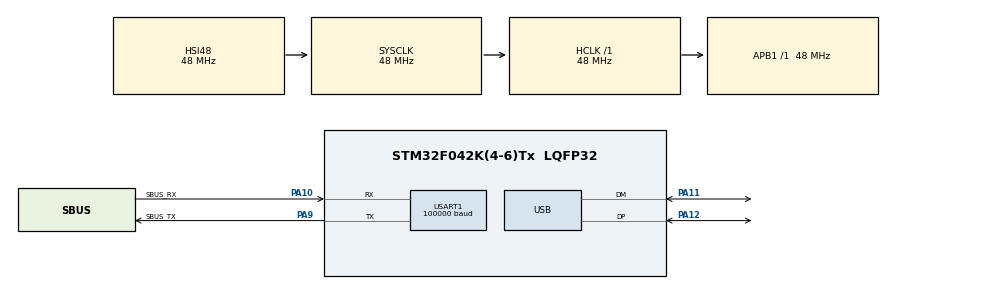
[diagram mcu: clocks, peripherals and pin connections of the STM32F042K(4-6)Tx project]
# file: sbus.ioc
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Dma.Request0=USART1_RX
Dma.USART1_RX.0.Direction=DMA_PERIPH_TO_MEMORY
Dma.USART1_RX.0.Instance=DMA1_Channel3
Dma.USART1_RX.0.MemDataAlignment=DMA_MDATAALIGN_BYTE
Dma.USART1_RX.0.MemInc=DMA_MINC_ENABLE
Dma.USART1_RX.0.Mode=DMA_CIRCULAR
Dma.USART1_RX.0.PeriphDataAlignment=DMA_PDATAALIGN_BYTE
Dma.USART1_RX.0.PeriphInc=DMA_PINC_DISABLE
Dma.USART1_RX.0.Priority=DMA_PRIORITY_MEDIUM
Mcu.Family=STM32F0
Mcu.Name=STM32F042K(4-6)Tx
Mcu.Package=LQFP32
NVIC.DMA1_Channel2_3_IRQn=true\:0\:0\:false\:false\:true\:false
NVIC.USB_IRQn=true\:0\:0\:false\:false\:true\:false
PA10.GPIO_Label=SBUS_RX
PA10.Mode=Asynchronous
PA10.Signal=USART1_RX
PA11.Mode=Device
PA11.Signal=USB_DM
PA12.Mode=Device
PA12.Signal=USB_DP
PA13.Mode=Serial_Wire
PA13.Signal=SYS_SWDIO
PA14.Mode=Serial_Wire
PA14.Signal=SYS_SWCLK
PA9.GPIO_Label=SBUS_TX
PA9.Mode=Asynchronous
PA9.Signal=USART1_TX
ProjectManager.HeapSize=0x100
ProjectManager.StackSize=0x400
ProjectManager.TargetToolchain=Makefile
RCC.AHBFreq_Value=48000000
RCC.APB1Freq_Value=48000000
RCC.APB1TimFreq_Value=48000000
RCC.HCLKFreq_Value=48000000
RCC.SYSCLKFreq_VALUE=48000000
RCC.SYSCLKSource=RCC_SYSCLKSOURCE_HSI48
USART1.BaudRate=100000
USART1.Mode=MODE_TX_RX
USART1.Parity=PARITY_EVEN
USART1.RxPinLevelInvertParam=ADVFEATURE_RXINV_ENABLE
USART1.StopBits=STOPBITS_2
USART1.TxPinLevelInvertParam=ADVFEATURE_TXINV_ENABLE
USART1.VirtualMode-Asynchronous=VM_ASYNC
USART1.WordLength=WORDLENGTH_8B
USB_DEVICE.CLASS_NAME_FS=CDC
USB_DEVICE.VirtualMode=Cdc
USB_DEVICE.VirtualModeFS=Cdc_FS
VP_USB_DEVICE_VS_USB_DEVICE_CDC_FS.Mode=CDC_FS
board=custom

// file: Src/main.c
/**
  ******************************************************************************
  * @file           : main.c
  * @brief          : Main program body
  ******************************************************************************
  * This notice applies to any and all portions of this file
  * that are not between comment pairs USER CODE BEGIN and
  * USER CODE END. Other portions of this file, whether
  * inserted by the user or by software development tools
  * are owned by their respective copyright owners.
  *
  * Copyright (c) 2018 STMicroelectronics International N.V.
  * All rights reserved.
  *
  * Redistribution and use in source and binary forms, with or without
  * modification, are permitted, provided that the following conditions are met:
  *
  * 1. Redistribution of source code must retain the above copyright notice,
  *    this list of conditions and the following disclaimer.
  * 2. Redistributions in binary form must reproduce the above copyright notice,
  *    this list of conditions and the following disclaimer in the documentation
  *    and/or other materials provided with the distribution.
  * 3. Neither the name of STMicroelectronics nor the names of other
  *    contributors to this software may be used to endorse or promote products
  *    derived from this software without specific written permission.
  * 4. This software, including modifications and/or derivative works of this
  *    software, must execute solely and exclusively on microcontroller or
  *    microprocessor devices manufactured by or for STMicroelectronics.
  * 5. Redistribution and use of this software other than as permitted under
  *    this license is void and will automatically terminate your rights under
  *    this license.
  *
  * THIS SOFTWARE IS PROVIDED BY STMICROELECTRONICS AND CONTRIBUTORS "AS IS"
  * AND ANY EXPRESS, IMPLIED OR STATUTORY WARRANTIES, INCLUDING, BUT NOT
  * LIMITED TO, THE IMPLIED WARRANTIES OF MERCHANTABILITY, FITNESS FOR A
  * PARTICULAR PURPOSE AND NON-INFRINGEMENT OF THIRD PARTY INTELLECTUAL PROPERTY
  * RIGHTS ARE DISCLAIMED TO THE FULLEST EXTENT PERMITTED BY LAW. IN NO EVENT
  * SHALL STMICROELECTRONICS OR CONTRIBUTORS BE LIABLE FOR ANY DIRECT, INDIRECT,
  * INCIDENTAL, SPECIAL, EXEMPLARY, OR CONSEQUENTIAL DAMAGES (INCLUDING, BUT NOT
  * LIMITED TO, PROCUREMENT OF SUBSTITUTE GOODS OR SERVICES; LOSS OF USE, DATA,
  * OR PROFITS; OR BUSINESS INTERRUPTION) HOWEVER CAUSED AND ON ANY THEORY OF
  * LIABILITY, WHETHER IN CONTRACT, STRICT LIABILITY, OR TORT (INCLUDING
  * NEGLIGENCE OR OTHERWISE) ARISING IN ANY WAY OUT OF THE USE OF THIS SOFTWARE,
  * EVEN IF ADVISED OF THE POSSIBILITY OF SUCH DAMAGE.
  *
  ******************************************************************************
  */
#include "main.h"
#include "stm32f0xx_hal.h"
#include "usb_device.h"

/* USER CODE BEGIN Includes */
#include "usbd_cdc_if.h"
#include "sbus.h"
/* USER CODE END Includes */

UART_HandleTypeDef huart1;
DMA_HandleTypeDef hdma_usart1_rx;

/* USER CODE BEGIN PV */
uint8_t sbusByte;
sbusHandle_t sbusHandle;
/* Private variables ---------------------------------------------------------*/
/* USER CODE END PV */

void SystemClock_Config(void);
static void MX_GPIO_Init(void);
static void MX_DMA_Init(void);
static void MX_USART1_UART_Init(void);

/* USER CODE BEGIN PFP */
/* Private function prototypes -----------------------------------------------*/
static void appSbusInit(void);
static void onSbusFrame(sbusHandle_t *handle);
/* USER CODE END PFP */

int main(void)
{

  /* MCU Configuration----------------------------------------------------------*/

  /* Reset of all peripherals, Initializes the Flash interface and the Systick. */
  HAL_Init();

  /* Configure the system clock */
  SystemClock_Config();

  /* Initialize all configured peripherals */
  MX_GPIO_Init();
  MX_DMA_Init();
  MX_USB_DEVICE_Init();
  MX_USART1_UART_Init();
  /* USER CODE BEGIN 2 */

  appSbusInit();
  /* USER CODE END 2 */

  /* Infinite loop */
  /* USER CODE BEGIN WHILE */
  while (1)
  {
    HAL_Delay(1000);
  /* USER CODE END WHILE */

  }

}

void SystemClock_Config(void)
{

  RCC_OscInitTypeDef RCC_OscInitStruct;
  RCC_ClkInitTypeDef RCC_ClkInitStruct;
  RCC_PeriphCLKInitTypeDef PeriphClkInit;

    /**Initializes the CPU, AHB and APB busses clocks
    */
  RCC_OscInitStruct.OscillatorType = RCC_OSCILLATORTYPE_HSI48;
  RCC_OscInitStruct.HSI48State = RCC_HSI48_ON;
  RCC_OscInitStruct.PLL.PLLState = RCC_PLL_NONE;
  if (HAL_RCC_OscConfig(&RCC_OscInitStruct) != HAL_OK)
  {
    _Error_Handler(__FILE__, __LINE__);
  }

    /**Initializes the CPU, AHB and APB busses clocks
    */
  RCC_ClkInitStruct.ClockType = RCC_CLOCKTYPE_HCLK|RCC_CLOCKTYPE_SYSCLK
                              |RCC_CLOCKTYPE_PCLK1;
  RCC_ClkInitStruct.SYSCLKSource = RCC_SYSCLKSOURCE_HSI48;
  RCC_ClkInitStruct.AHBCLKDivider = RCC_SYSCLK_DIV1;
  RCC_ClkInitStruct.APB1CLKDivider = RCC_HCLK_DIV1;

  if (HAL_RCC_ClockConfig(&RCC_ClkInitStruct, FLASH_LATENCY_1) != HAL_OK)
  {
    _Error_Handler(__FILE__, __LINE__);
  }

  PeriphClkInit.PeriphClockSelection = RCC_PERIPHCLK_USB|RCC_PERIPHCLK_USART1;
  PeriphClkInit.Usart1ClockSelection = RCC_USART1CLKSOURCE_PCLK1;
  PeriphClkInit.UsbClockSelection = RCC_USBCLKSOURCE_HSI48;

  if (HAL_RCCEx_PeriphCLKConfig(&PeriphClkInit) != HAL_OK)
  {
    _Error_Handler(__FILE__, __LINE__);
  }

    /**Configure the Systick interrupt time
    */
  HAL_SYSTICK_Config(HAL_RCC_GetHCLKFreq()/1000);

    /**Configure the Systick
    */
  HAL_SYSTICK_CLKSourceConfig(SYSTICK_CLKSOURCE_HCLK);

  /* SysTick_IRQn interrupt configuration */
  HAL_NVIC_SetPriority(SysTick_IRQn, 0, 0);
}

/* USART1 init function */
static void MX_USART1_UART_Init(void)
{

  huart1.Instance = USART1;
  huart1.Init.BaudRate = 100000;
  huart1.Init.WordLength = UART_WORDLENGTH_9B;
  huart1.Init.StopBits = UART_STOPBITS_2;
  huart1.Init.Parity = UART_PARITY_EVEN;
  huart1.Init.Mode = UART_MODE_RX;
  huart1.Init.HwFlowCtl = UART_HWCONTROL_NONE;
  huart1.Init.OverSampling = UART_OVERSAMPLING_16;
  huart1.Init.OneBitSampling = UART_ONE_BIT_SAMPLE_DISABLE;
  huart1.AdvancedInit.AdvFeatureInit = UART_ADVFEATURE_RXINVERT_INIT;
  huart1.AdvancedInit.RxPinLevelInvert = UART_ADVFEATURE_RXINV_ENABLE;
  if (HAL_UART_Init(&huart1) != HAL_OK)
  {
    _Error_Handler(__FILE__, __LINE__);
  }

}

static void MX_DMA_Init(void)
{
  /* DMA controller clock enable */
  __HAL_RCC_DMA1_CLK_ENABLE();

  /* DMA interrupt init */
  /* DMA1_Channel2_3_IRQn interrupt configuration */
  HAL_NVIC_SetPriority(DMA1_Channel2_3_IRQn, 0, 0);
  HAL_NVIC_EnableIRQ(DMA1_Channel2_3_IRQn);

}

/** Configure pins as
        * Analog
        * Input
        * Output
        * EVENT_OUT
        * EXTI
*/
static void MX_GPIO_Init(void)
{

  /* GPIO Ports Clock Enable */
  __HAL_RCC_GPIOA_CLK_ENABLE();

}

/* USER CODE BEGIN 4 */
void HAL_UART_RxCpltCallback(UART_HandleTypeDef *huart) {
  sbusHandle.onByte(&sbusHandle, sbusByte);
}

static void appSbusInit(void) {
  sbusHandle.onFrame = onSbusFrame;

  if (!sbusInit(&sbusHandle)) {
    _Error_Handler(__FILE__, __LINE__);
  }

  HAL_UART_Receive_DMA(&huart1, &sbusByte, 1);
}

static void onSbusFrame(sbusHandle_t *handle) {
  CDC_Transmit_FS(handle->frame.bytes, SBUS_FRAME_SIZE);
}
/* USER CODE END 4 */

void _Error_Handler(char *file, int line)
{
  while(1)
  {
  }
}

/************************ (C) COPYRIGHT STMicroelectronics *****END OF FILE****/
